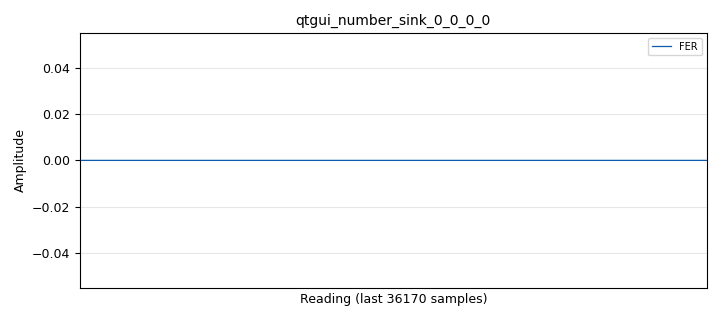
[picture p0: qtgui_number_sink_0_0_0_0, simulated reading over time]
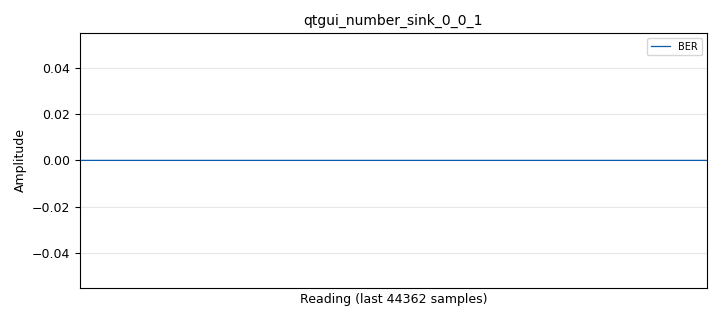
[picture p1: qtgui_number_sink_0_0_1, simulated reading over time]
options:
  parameters:
    generate_options: qt_gui
    id: variant_b_error_rate
    output_language: python
    title: Variant B Error Rate
  states: {}

blocks:
- name: modulation
  id: variable_constellation
  parameters:
    precision: '8'
    type: bpsk
  states: {state: disabled}
- name: modulation
  id: variable_constellation
  parameters:
    precision: '8'
    type: 16qam
  states: {}
- name: reset_button
  id: variable_qtgui_push_button
  parameters:
    label: Reset Button
    pressed: 'True'
    released: 'False'
    type: bool
    value: 'False'
  states: {}
- name: samp_rate
  id: variable
  parameters:
    value: '320000'
  states: {}
- name: test_case
  id: variable_qtgui_chooser
  parameters:
    label: Test Cases BPSK
    label0: 'Test 1: BER_log = SER_log = -2.9 ; FER_log = 0'
    label1: 'Test 2: BER_log = SER_log = -3.9 ; FER_log = -1'
    num_opts: '2'
    option0: '[0]*0+[0]*99+[1]*1'
    option1: '[0]*1000+[0]*99+[1]*1'
    type: raw
    value: '[0]*0+[0]*99+[1]*1'
    widget: radio_buttons
  states: {state: disabled}
- name: test_case
  id: variable_qtgui_chooser
  parameters:
    label: Test Cases 16 QAM
    label0: 'Test 1: BER_log = -2.9 ; SER_log = -2.3 ; FER_log = 0'
    label1: 'Test 2: BER_log = -3.94 ; SER_log = -3.34 ; FER_log = -1'
    num_opts: '2'
    option0: '[0]*0+[0]*99+[1]*1'
    option1: '[0]*1000+[0]*99+[1]*1'
    type: raw
    value: '[0]*0+[0]*99+[1]*1'
    widget: radio_buttons
  states: {}
- name: blocks_repack_bits_bb_0_0_0
  id: blocks_repack_bits_bb
  parameters:
    endianness: gr.GR_LSB_FIRST
    k: modulation.bits_per_symbol()
    l: '8'
    len_tag_key: '"packet_len"'
  states: {}
- name: blocks_repack_bits_bb_0_1
  id: blocks_repack_bits_bb
  parameters:
    endianness: gr.GR_LSB_FIRST
    k: '8'
    l: modulation.bits_per_symbol()
    len_tag_key: '"packet_len"'
  states: {}
- name: blocks_repack_bits_bb_0_1_0
  id: blocks_repack_bits_bb
  parameters:
    endianness: gr.GR_LSB_FIRST
    k: '8'
    l: modulation.bits_per_symbol()
    len_tag_key: ''
  states: {}
- name: blocks_stream_to_tagged_stream_0_0
  id: blocks_stream_to_tagged_stream
  parameters:
    len_tag_key: '"packet_len"'
    packet_len: '100'
    type: byte
  states: {}
- name: blocks_throttle2_0
  id: blocks_throttle2
  parameters:
    samples_per_second: samp_rate
    type: byte
  states: {}
- name: blocks_vector_source_x_0
  id: blocks_vector_source_x
  parameters:
    comment: TX Data
    repeat: 'True'
    type: byte
    vector: '[0]*100'
  states: {}
- name: blocks_vector_source_x_0_0
  id: blocks_vector_source_x
  parameters:
    comment: Error Inducement Control
    repeat: 'True'
    type: byte
    vector: test_case
  states: {}
- name: blocks_xor_xx_1
  id: blocks_xor_xx
  parameters:
    type: byte
  states: {}
- name: epy_block_0_0
  id: epy_block
  parameters:
    _source_code: |
      import numpy as np
      from gnuradio import gr

      class blk(gr.sync_block):
          def __init__(self, restart=False, tag_key='packet_len'):
              gr.sync_block.__init__(
                  self,
                  name='FER',
                  in_sig=[np.uint8, np.uint8],
                  out_sig=[np.float32]
              )
          def work(self, input_items, output_items):
              output_items[0][:] = input_items[0]
              return len(output_items[0])
    comment: |-
      Instead of this block
      add your FER block
    restart: reset_button
    tag_key: '"packet_len"'
  states: {}
- name: epy_block_0_1_0
  id: epy_block
  parameters:
    _source_code: |
      import numpy as np
      from gnuradio import gr


      class blk(gr.sync_block):

          def __init__(self, restart=False):
              gr.sync_block.__init__(
                  self,
                  name='BER',   # will show up in GRC
                  in_sig=[np.byte, np.byte],
                  out_sig=[np.float32]
              )

          def work(self, input_items, output_items):
              output_items[0][:] = input_items[0] 
              return len(output_items[0])
    comment: |-
      Instead of this block
      add your BER block
    restart: reset_button
  states: {}
- name: epy_block_5_0
  id: epy_block
  parameters:
    _source_code: |
      import numpy as np
      from gnuradio import gr

      class blk(gr.sync_block):

          def __init__(self, restart=False):
              gr.sync_block.__init__(
                  self,
                  name='SER',
                  in_sig=[np.byte, np.byte],
                  out_sig=[np.float32]
              )
          def work(self, input_items, output_items):
              output_items[0][:] = input_items[0]
              return len(output_items[0])
    comment: |-
      Instead of this block
      add your SER block
    restart: reset_button
  states: {}
- name: qtgui_number_sink_0_0_0_0
  id: qtgui_number_sink
  parameters:
    graph_type: qtgui.NUM_GRAPH_NONE
    label1: FER
    name: ''
    type: float
  states: {}
- name: qtgui_number_sink_0_0_1
  id: qtgui_number_sink
  parameters:
    graph_type: qtgui.NUM_GRAPH_NONE
    label1: BER
    name: ''
    type: float
  states: {}
- name: qtgui_number_sink_3_0
  id: qtgui_number_sink
  parameters:
    graph_type: qtgui.NUM_GRAPH_NONE
    label1: SER
    type: float
  states: {}
- name: virtual_sink_0
  id: virtual_sink
  parameters:
    stream_id: TX Data
  states: {}
- name: virtual_source_0
  id: virtual_source
  parameters:
    stream_id: TX Data
  states: {}
- name: virtual_source_0_0
  id: virtual_source
  parameters:
    stream_id: TX Data
  states: {}
- name: virtual_source_0_0_0
  id: virtual_source
  parameters:
    stream_id: TX Data
  states: {}

connections:
- [blocks_repack_bits_bb_0_0_0, '0', epy_block_0_1_0, '1']
- [blocks_repack_bits_bb_0_1, '0', blocks_repack_bits_bb_0_0_0, '0']
- [blocks_repack_bits_bb_0_1, '0', epy_block_5_0, '0']
- [blocks_repack_bits_bb_0_1_0, '0', epy_block_5_0, '1']
- [blocks_stream_to_tagged_stream_0_0, '0', blocks_repack_bits_bb_0_1, '0']
- [blocks_stream_to_tagged_stream_0_0, '0', epy_block_0_0, '1']
- [blocks_throttle2_0, '0', blocks_stream_to_tagged_stream_0_0, '0']
- [blocks_vector_source_x_0, '0', blocks_xor_xx_1, '0']
- [blocks_vector_source_x_0, '0', virtual_sink_0, '0']
- [blocks_vector_source_x_0_0, '0', blocks_xor_xx_1, '1']
- [blocks_xor_xx_1, '0', blocks_throttle2_0, '0']
- [epy_block_0_0, '0', qtgui_number_sink_0_0_0_0, '0']
- [epy_block_0_1_0, '0', qtgui_number_sink_0_0_1, '0']
- [epy_block_5_0, '0', qtgui_number_sink_3_0, '0']
- [virtual_source_0, '0', epy_block_0_1_0, '0']
- [virtual_source_0_0, '0', blocks_repack_bits_bb_0_1_0, '0']
- [virtual_source_0_0_0, '0', epy_block_0_0, '0']

metadata:
  file_format: 1
  grc_version: 3.10.12.0
